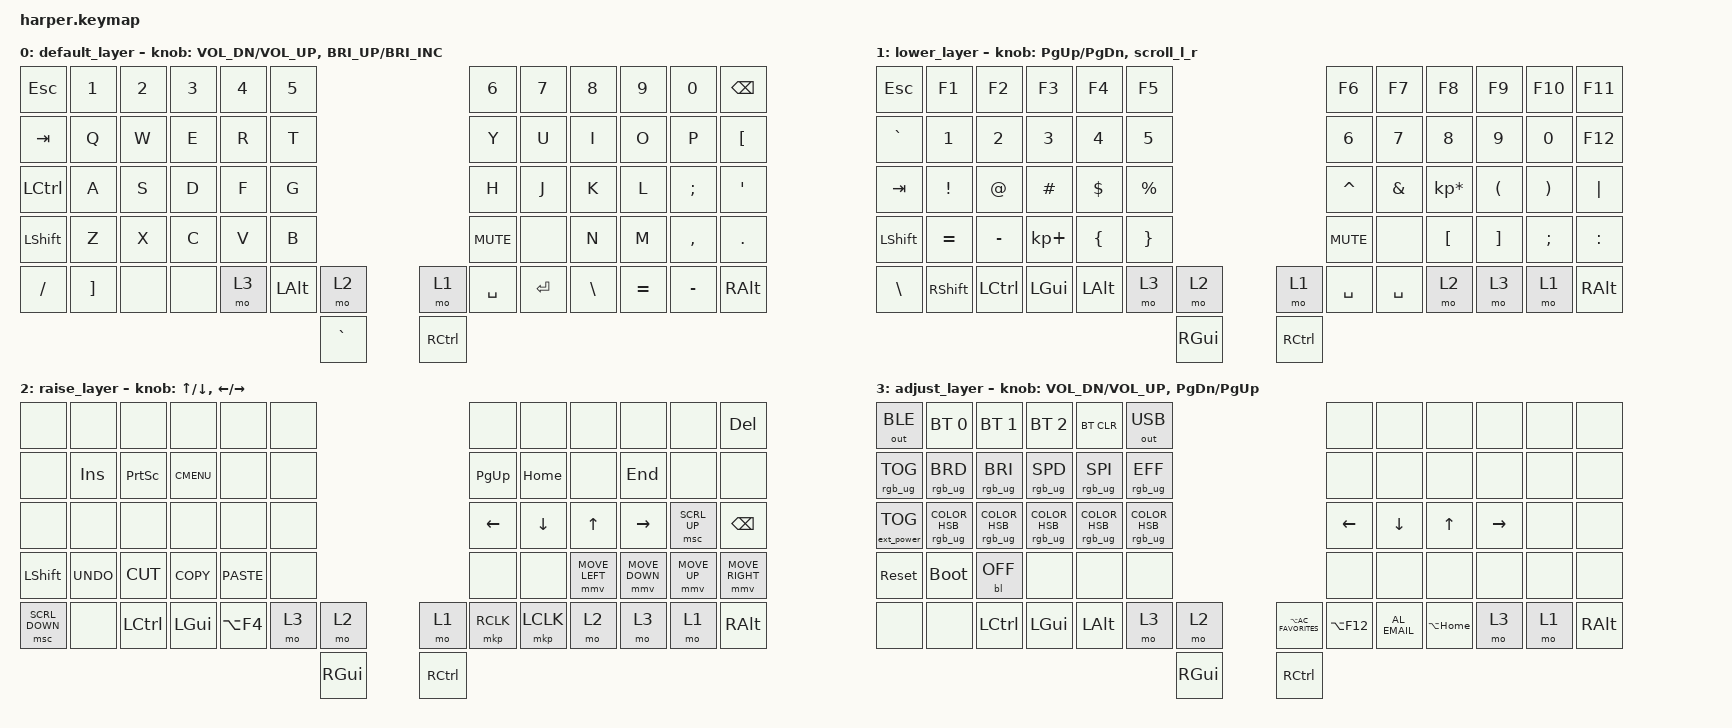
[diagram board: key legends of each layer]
#undef ZMK_BEHAVIORS_KEEP_ALL

#define ZMK_BEHAVIORS_KEEP_IND
#define ZMK_BEHAVIORS_KEEP_BT
#define ZMK_BEHAVIORS_KEEP_GRESC
#define ZMK_BEHAVIORS_KEEP_SYS_RESET
#define ZMK_BEHAVIORS_KEEP_BOOTLOADER
#define ZMK_BEHAVIORS_KEEP_CAPS_WORD
#define ZMK_BEHAVIORS_KEEP_KEY_REPEAT
#define ZMK_BEHAVIORS_KEEP_KT
#define ZMK_BEHAVIORS_KEEP_LT
#define ZMK_BEHAVIORS_KEEP_MT
#define ZMK_BEHAVIORS_KEEP_SK
#define ZMK_BEHAVIORS_KEEP_STICKY_LAYER
#define ZMK_BEHAVIORS_KEEP_TO
#define ZMK_BEHAVIORS_KEEP_TOG
#define ZMK_BEHAVIORS_KEEP_TRANS

#include <dt-bindings/zmk/indicators.h>
#include <behaviors.dtsi>
#include <dt-bindings/zmk/backlight.h>
#include <dt-bindings/zmk/bt.h>
#include <dt-bindings/zmk/ext_power.h>
#include <dt-bindings/zmk/keys.h>
#include <dt-bindings/zmk/outputs.h>
#include <dt-bindings/zmk/pointing.h>
#include <dt-bindings/zmk/rgb.h>

#define DEF 0
#define LWR 1
#define RSE 2
#define ADJ 3

&lt { quick_tap_ms = <200>; };

&mt { quick_tap_ms = <200>; };

/ {
    keymap {
        compatible = "zmk,keymap";

        default_layer {
            bindings = <
&kp ESC           &kp N1             &kp N2  &kp N3  &kp N4  &kp N5           &kp N6      &kp N7     &kp N8     &kp N9         &kp N0     &kp BACKSPACE
&kp TAB           &kp Q              &kp W   &kp E   &kp R   &kp T            &kp Y       &kp U      &kp I      &kp O          &kp P      &kp LEFT_BRACKET
&kp LEFT_CONTROL  &kp A              &kp S   &kp D   &kp F   &kp G            &kp H       &kp J      &kp K      &kp L          &kp SEMI   &kp SQT
&kp LSHFT         &kp Z              &kp X   &kp C   &kp V   &kp B            &kp C_MUTE  &none      &kp N      &kp M          &kp COMMA  &kp DOT
&kp FSLH          &kp RIGHT_BRACKET  &none   &none   &mo 3   &kp LALT  &mo 2  &mo 1       &kp SPACE  &kp ENTER  &kp BACKSLASH  &kp EQUAL  &kp MINUS         &kp RALT
                                                                              &kp GRAVE                                                                     &kp RCTRL
            >;

            sensor-bindings =
                <&inc_dec_kp C_VOL_DN C_VOL_UP>,
                <&inc_dec_kp C_BRI_UP C_BRI_INC>;
        };

        lower_layer {
            bindings = <
&kp ESC    &kp F1     &kp F2     &kp F3       &kp F4    &kp F5            &kp F6      &kp F7     &kp F8           &kp F9    &kp F10   &kp F11
&kp GRAVE  &kp N1     &kp N2     &kp N3       &kp N4    &kp N5            &kp N6      &kp N7     &kp N8           &kp N9    &kp N0    &kp F12
&kp TAB    &kp EXCL   &kp AT     &kp HASH     &kp DLLR  &kp PRCNT         &kp CARET   &kp AMPS   &kp KP_MULTIPLY  &kp LPAR  &kp RPAR  &kp PIPE
&kp LSHFT  &kp EQUAL  &kp MINUS  &kp KP_PLUS  &kp LBRC  &kp RBRC          &kp C_MUTE  &none      &kp LBKT         &kp RBKT  &kp SEMI  &kp COLON
&kp BSLH   &kp RSHFT  &kp LCTRL  &kp LGUI     &kp LALT  &mo 3      &mo 2  &mo 1       &kp SPACE  &kp SPACE        &mo 2     &mo 3     &mo 1      &kp RALT
                                                                          &kp RGUI                                                               &kp RCTRL
            >;

            sensor-bindings = <&inc_dec_kp PG_UP PG_DN &scroll_l_r>;
        };

        raise_layer {
            bindings = <
&none           &none       &none      &none        &none        &none         &none      &none           &none           &none           &none         &kp DELETE
&none           &kp INS     &kp PSCRN  &kp K_CMENU  &none        &none         &kp PG_UP  &kp HOME        &none           &kp END         &none         &none
&none           &none       &none      &none        &none        &none         &kp LEFT   &kp DOWN_ARROW  &kp UP_ARROW    &kp RIGHT       &msc SCRL_UP  &kp BSPC
&kp LSHIFT      &kp K_UNDO  &kp K_CUT  &kp K_COPY   &kp K_PASTE  &none         &none      &none           &mmv MOVE_LEFT  &mmv MOVE_DOWN  &mmv MOVE_UP  &mmv MOVE_RIGHT
&msc SCRL_DOWN  &none       &kp LCTRL  &kp LGUI     &kp LA(F4)   &mo 3  &mo 2  &mo 1      &mkp RCLK       &mkp LCLK       &mo 2           &mo 3         &mo 1            &kp RALT
                                                                               &kp RGUI                                                                                  &kp RCTRL
            >;

            sensor-bindings = <&inc_dec_kp UP_ARROW DOWN_ARROW &inc_dec_kp LEFT_ARROW RIGHT_ARROW>;
        };

        adjust_layer {
            bindings = <
&out OUT_BLE       &bt BT_SEL 0                     &bt BT_SEL 1                       &bt BT_SEL 2                      &bt BT_CLR                       &out OUT_USB                             &none                   &none        &none           &none         &none  &none
&rgb_ug RGB_TOG    &rgb_ug RGB_BRD                  &rgb_ug RGB_BRI                    &rgb_ug RGB_SPD                   &rgb_ug RGB_SPI                  &rgb_ug RGB_EFF                          &none                   &none        &none           &none         &none  &none
&ext_power EP_TOG  &rgb_ug RGB_COLOR_HSB(0,100,50)  &rgb_ug RGB_COLOR_HSB(218,100,50)  &rgb_ug RGB_COLOR_HSB(120,97,50)  &rgb_ug RGB_COLOR_HSB(60,0,100)  &rgb_ug RGB_COLOR_HSB(64,100,52)         &kp LEFT_ARROW          &kp DOWN     &kp UP_ARROW    &kp RIGHT     &none  &none
&sys_reset         &bootloader                      &bl BL_OFF                         &none                             &none                            &none                                    &none                   &none        &none           &none         &none  &none
&none              &none                            &kp LCTRL                          &kp LGUI                          &kp LALT                         &mo 3                             &mo 2  &kp LA(C_AC_FAVORITES)  &kp LA(F12)  &kp C_AL_EMAIL  &kp LA(HOME)  &mo 3  &mo 1  &kp RALT
                                                                                                                                                                                                   &kp RGUI                                                                         &kp RCTRL
            >;

            sensor-bindings =
                <&inc_dec_kp C_VOL_DN C_VOL_UP>,
                <&inc_dec_kp PG_DN PG_UP>;
        };
    };
};
